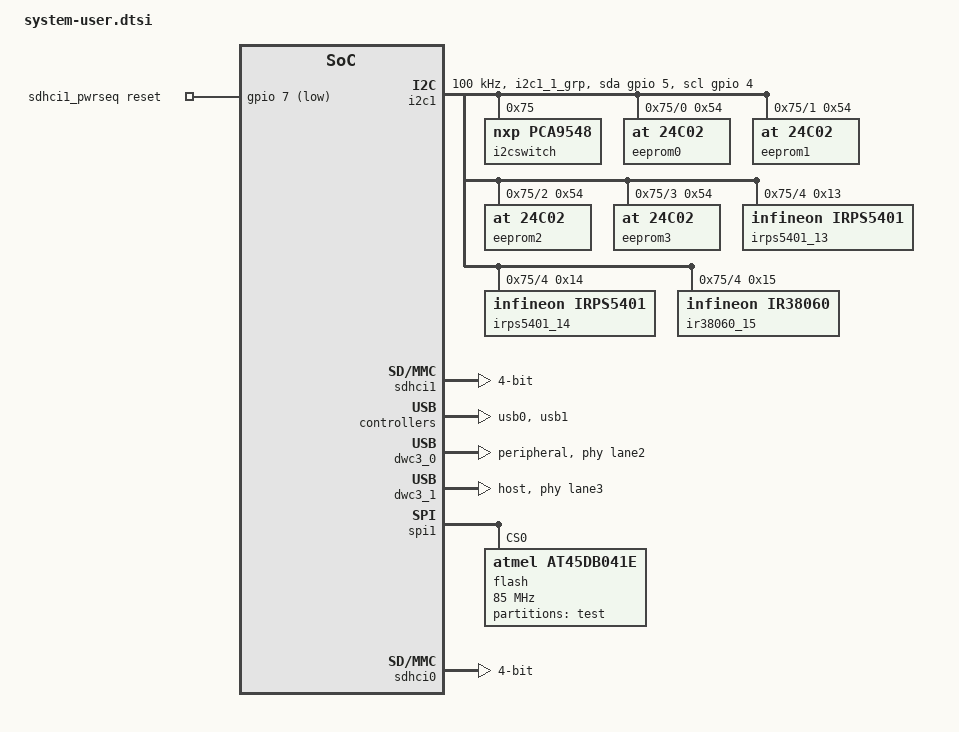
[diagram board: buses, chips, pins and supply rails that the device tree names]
/include/ "system-conf.dtsi"
/ {

   /* WILC3000 module: release RESETN on kernel boot */  
   sdhci1_pwrseq: sdhci1_pwrseq {
      compatible = "mmc-pwrseq-simple";
      reset-gpios = <&gpio 7 1>;  // MIO[7] for RESETN, Active low, JT5 strapped to pins 2-3
      /* reset-gpios = <&gpio 78 1>;  // device pin A3 for RESETN, Active low, JT5 strapped to pins 1-2 */
      post-power-on-delay-ms = <10>;
   };

	aliases {
		i2c0 = &i2c1;
	};

};

&i2c1 {
	status = "okay";
	clock-frequency = <100000>;
	pinctrl-names = "default", "gpio";
	pinctrl-0 = <&pinctrl_i2c1_default>;
	pinctrl-1 = <&pinctrl_i2c1_gpio>;
	scl-gpios = <&gpio 4 0>;
	sda-gpios = <&gpio 5 0>;

	i2cswitch@75 { /* U7 on Ultra96-V2 */
		compatible = "nxp,pca9548";
		#address-cells = <1>;
      #size-cells = <0>;
		reg = <0x75>;
		i2c@0 { /* i2c mw 75 0 1 */
			#address-cells = <1>;
			#size-cells = <0>;
			reg = <0>;
         /* LS MEZZ I2C0 */
         eeprom0: eeprom@54 { /* u1 */
            compatible = "at,24c02";
            reg = <0x54>;
            };
      };
		i2c@1 { /* i2c mw 75 0 2 */
			#address-cells = <1>;
			#size-cells = <0>;
			reg = <1>;
         /* LS MEZZ I2C1 */
         eeprom1: eeprom@54 { /* u2 */
            compatible = "at,24c02";
            reg = <0x54>;
         };
      };
		i2c@2 { /* i2c mw 75 0 4 */
			#address-cells = <1>;
			#size-cells = <0>;
			reg = <2>;
         /* HS MEZZ I2C2 */
         eeprom2: eeprom@54 { /* u3 */
            compatible = "at,24c02";
            reg = <0x54>;
         };
      };
		i2c@3 { /* i2c mw 75 0 8 */
			#address-cells = <1>;
			#size-cells = <0>;
			reg = <3>;
         /* HS MEZZ I2C3 */
         eeprom3: eeprom@54 { /* u4 */
            compatible = "at,24c02";
            reg = <0x54>;
         };
      };
		i2c@4 { /* i2c mw 75 0 10 */
			#address-cells = <1>;
			#size-cells = <0>;
			reg = <4>;
			/* PMBus PMIC */
			irps5401_13: irps5401@13 { /* U11 on Ultra96-V2 */
            /* #clock-cells = <0>; */
				compatible = "infineon,irps5401";
				reg = <0x13>;
			};

			/* PMBus PMIC */
			irps5401_14: irps5401@14 { /* U12 on Ultra96-V2 */
            /* #clock-cells = <0>; */
				compatible = "infineon,irps5401";
				reg = <0x14>;
			};

			/* PMBus PMIC */
			ir38060_15: ir38060@15 { /* U21 on Ultra96-V2 */
            /* #clock-cells = <0>; */
				compatible = "infineon,ir38060";
				reg = <0x15>;
			};
		};
	};
};

&pinctrl0 {
	status = "okay";
	pinctrl_i2c1_default: i2c1-default {
		mux {
			groups = "i2c1_1_grp";
			function = "i2c1";
		};

		conf {
			groups = "i2c1_1_grp";
			bias-pull-up;
			slew-rate = <1>;
			io-standard = <1>;
		};
	};

	pinctrl_i2c1_gpio: i2c1-gpio {
		mux {
			groups = "gpio0_4_grp", "gpio0_5_grp";
			function = "gpio0";
		};

		conf {
			groups = "gpio0_4_grp", "gpio0_5_grp";
			slew-rate = <1>;
			io-standard = <1>;
		};
	};
};

&sdhci1 {
   status = "okay";
   bus-width= <4>;
   max-frequency = <50000000>;
   broken-cd;
   mmc-pwrseq = <&sdhci1_pwrseq>;
};

&usb0 {
   status = "okay";
};

&dwc3_0 {
   status = "okay";
   dr_mode = "peripheral";
   phy-names = "usb3-phy";
	phys = <&lane2 4 0 0 26000000>;
	maximum-speed = "super-speed";   
};

&usb1 {
   status = "okay";
};

&dwc3_1 {
   status = "okay";
	dr_mode = "host";
	phy-names = "usb3-phy";
	phys = <&lane3 4 1 0 26000000>;
	maximum-speed = "super-speed";
};

&spi1 { /* High Speed connector */
   flash: at45db041@0 { /* u5 */
      #address-cells = <1>;
      #size-cells = <1>;
      status = "okay";
      compatible = "atmel,at45db041e", "atmel,at45", "atmel,dataflash";
      spi-max-frequency = <85000000>;
      reg = <0>;
      partition@0 {
         label = "test";
         reg = <0x0 0x84000>;
      };
   };
};


/* micro SD card */
&sdhci0 {
	status = "okay";
	bus-width = <4>;
   no-1-8-v;	/* for 1.0 silicon */
	non-removeable;
	broken-cd;
	max-frequency = <50000000>;
};



